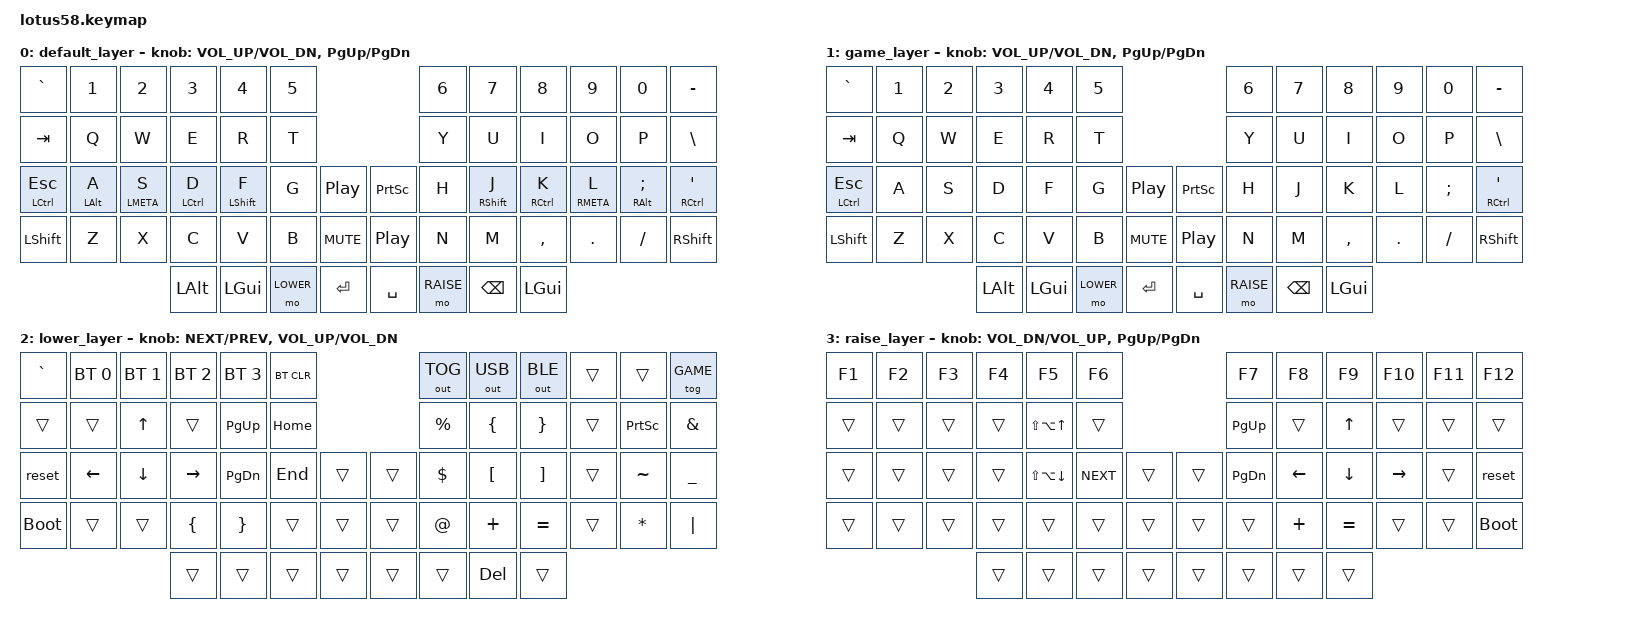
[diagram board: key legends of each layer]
/*
 * Copyright (c) 2022 The ZMK Contributors
 *
 * SPDX-License-Identifier: MIT
*/


//   ------------------------------------------------------------------------------------------------------------
//  0|  ESC  |  1  |  2  |  3   |  4   |  5   |                     |  6   |  7    |  8    |  9   |   0   |   =   | 11
// 12|  TAB  |  Q  |  W  |  E   |  R   |  T   |                     |  Y   |  U    |  I    |  O   |   P   |   [   | 23
// 24|  SFT  |  A  |  S  |  D   |  F   |  G   |  RESET  |  | RESET  |  H   |  J    |  K    |  L   |   ;   | ' SFT | 37
// 38|  CTRL |  Z  |  X  |  C   |  V   |  B   |  MUTE   |  | PLAY   |  N   |  M    |  ,    |  .   |   /   | \ CTRL| 51
// 52                    |ENT RS|  ALT | SPACE|DELETE LW|  |ENTER RS| BSPC |  ] LW | RGUI  |                        59

#include <behaviors.dtsi>
#include <dt-bindings/zmk/keys.h>
#include <dt-bindings/zmk/bt.h>
#include <dt-bindings/zmk/outputs.h>

#define DEFAULT 0
#define GAME    1
#define LOWER   2
#define RAISE   3

/ {
    behaviors {
        ht: hold_tap {
            compatible = "zmk,behavior-hold-tap";
            flavor = "balanced";
            tapping-term-ms = <300>;
            label = "HOLD_TAP";
            #binding-cells = <2>;
            bindings = <&kp>, <&kp>;
        };
        lhm: left_hand_positional_hold_tap {
            compatible = "zmk,behavior-hold-tap";
            flavor = "tap-preferred";
            tapping-term-ms = <220>;
            label = "home_mod";
            #binding-cells = <2>;
            bindings = <&kp>, <&kp>;
            // hold-trigger-key-positions = <6 7 8 9 10 11 18 19 20 21 22 23 32 33 34 35 36 37 46 47 48 49 50>;
            // hold-trigger-on-release = true;
        };
        rhm: right_hand_positional_hold_tap {
            compatible = "zmk,behavior-hold-tap";
            flavor = "tap-preferred";
            tapping-term-ms = <220>;
            label = "home_mod";
            #binding-cells = <2>;
            bindings = <&kp>, <&kp>;
            // hold-trigger-key-positions = <0 1 2 3 4 5 13 14 15 16 17 25 26 27 28 29 39 40 41 42 43>;
            // hold-trigger-on-release = true;
        };
    };

    keymap {
        compatible = "zmk,keymap";

        default_layer {
            bindings = <
&kp GRAVE     &kp N1      &kp N2       &kp N3       &kp N4       &kp N5                               &kp N6      &kp N7       &kp N8       &kp N9       &kp N0         &kp MINUS
&kp TAB       &kp Q       &kp W        &kp E        &kp R        &kp T                                &kp Y       &kp U        &kp I        &kp O        &kp P          &kp BSLH
&mt LCTRL ESC &lhm LALT A &lhm LMETA S &lhm LCTRL D &lhm LSHFT F &kp G      &kp C_PP       &kp PSCRN  &kp H       &rhm RSHFT J &rhm RCTRL K &rhm RMETA L &rhm RALT SEMI &ht RCTRL SQT
&kp LSHFT     &kp Z       &kp X        &kp C        &kp V        &kp B      &kp C_MUTE     &kp C_PP   &kp N       &kp M        &kp COMMA    &kp DOT      &kp FSLH       &kp RSHFT
                                       &kp LALT     &kp LGUI     &mo LOWER  &kp ENTER      &kp SPACE  &mo RAISE   &kp BSPC     &kp LGUI
            >;

            sensor-bindings = <&inc_dec_kp C_VOL_UP C_VOL_DN &inc_dec_kp PG_UP PG_DN>;
        };


        game_layer {
            bindings = <
&kp GRAVE     &kp N1      &kp N2       &kp N3       &kp N4       &kp N5                               &kp N6      &kp N7       &kp N8       &kp N9       &kp N0         &kp MINUS
&kp TAB       &kp Q       &kp W        &kp E        &kp R        &kp T                                &kp Y       &kp U        &kp I        &kp O        &kp P          &kp BSLH
&mt LCTRL ESC &kp A       &kp S        &kp D        &kp F        &kp G      &kp C_PP       &kp PSCRN  &kp H       &kp J        &kp K        &kp L        &kp SEMI       &ht RCTRL SQT
&kp LSHFT     &kp Z       &kp X        &kp C        &kp V        &kp B      &kp C_MUTE     &kp C_PP   &kp N       &kp M        &kp COMMA    &kp DOT      &kp FSLH       &kp RSHFT
                                       &kp LALT     &kp LGUI     &mo LOWER  &kp ENTER      &kp SPACE  &mo RAISE   &kp BSPC     &kp LGUI
            >;

            sensor-bindings = <&inc_dec_kp C_VOL_UP C_VOL_DN &inc_dec_kp PG_UP PG_DN>;
        };

        // triggered by left hand
        lower_layer {
            bindings = <
&kp GRAVE   &bt BT_SEL 0 &bt BT_SEL 1 &bt BT_SEL 2 &bt BT_SEL 3 &bt BT_CLR                     &out OUT_TOG  &out OUT_USB  &out OUT_BLE  &trans   &trans    &tog GAME
&trans      &trans       &kp UP       &trans       &kp PG_UP    &kp HOME                       &kp PRCNT     &kp LBRC      &kp RBRC      &trans   &kp PSCRN &kp AMPS
&reset      &kp LEFT     &kp DOWN     &kp RIGHT    &kp PG_DN    &kp END       &trans   &trans  &kp DLLR      &kp LBKT      &kp RBKT      &trans   &kp TILDE &kp UNDER
&bootloader &trans       &trans       &kp LBRC     &kp RBRC     &trans        &trans   &trans  &kp AT        &kp PLUS      &kp EQUAL     &trans   &kp STAR  &kp PIPE
                                      &trans       &trans       &trans        &trans   &trans  &trans        &kp DEL       &trans
   >;
            sensor-bindings = <&inc_dec_kp C_NEXT C_PREV &inc_dec_kp C_VOL_UP C_VOL_DN>;
        };

        // triggered by right hand
        raise_layer {
            bindings = <
&kp F1     &kp F2    &kp F3    &kp F4   &kp F5           &kp F6                          &kp F7        &kp F8        &kp F9        &kp F10    &kp F11  &kp F12
&trans     &trans    &trans    &trans   &kp LS(LA(UP))   &trans                          &kp PG_UP     &trans        &kp UP        &trans     &trans   &trans
&trans     &trans    &trans    &trans   &kp LS(LA(DOWN)) &kp C_NEXT   &trans   &trans    &kp PG_DN     &kp LEFT      &kp DOWN      &kp RIGHT  &trans   &reset
&trans     &trans    &trans    &trans   &trans           &trans       &trans   &trans    &trans        &kp PLUS      &kp EQUAL     &trans     &trans   &bootloader
                               &trans   &trans           &trans       &trans   &trans    &trans        &trans        &trans
            >;

            sensor-bindings = <&inc_dec_kp C_VOL_DN C_VOL_UP &inc_dec_kp PG_UP PG_DN>;
        };
    };
};
